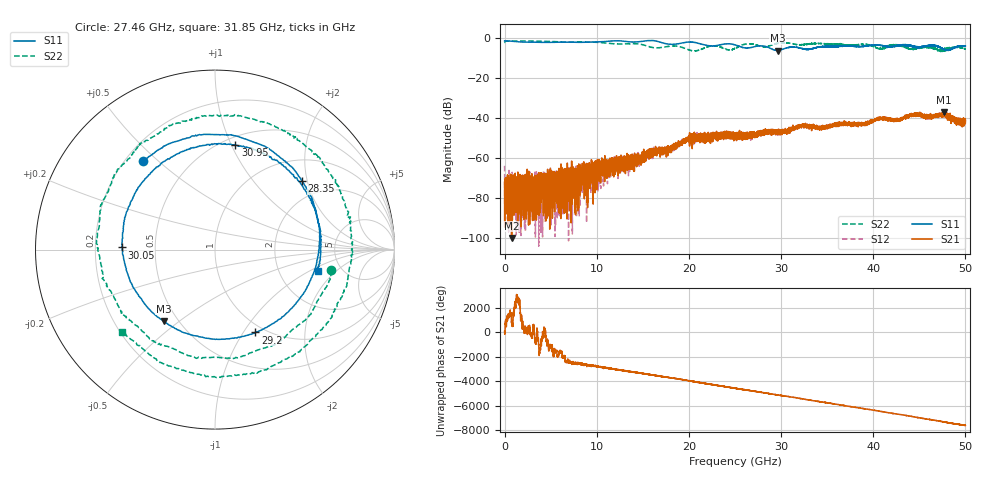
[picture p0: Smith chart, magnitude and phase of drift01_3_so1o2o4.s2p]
!Created with skrf (http://scikit-rf.org).
# Hz S RI R 50.0
!freq ReS11 ImS11 ReS21 ImS21 ReS12 ImS12 ReS22 ImS22
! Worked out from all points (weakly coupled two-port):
!   10001 points, 300 kHz to 50 GHz, reference 50 ohm
!   highest |S21| = -36.92 dB at 47.65 GHz (marker M1); lowest = -100.2 dB at 760.3 MHz (marker M2)
!   lowest |S11| = -6.2 dB at 29.63 GHz (marker M3), VSWR 2.92, Z = 21 - j22 ohm
!   |S11| at or under -10 dB: nowhere
!   |S22| runs from -6.7 to -1.4 dB; largest |S21 - S12| = 0.0039
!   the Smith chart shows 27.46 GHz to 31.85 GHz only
!   S11 on the Smith chart (normalised r, x): 27.46 GHz: 0.27, +0.45; 28.35 GHz: 1.51, +1.86; 29.2 GHz: 0.90, -1.13; 30.05 GHz: 0.32, +0.01; 30.95 GHz: 0.58, +1.04; 31.85 GHz: 3.35, -1.19
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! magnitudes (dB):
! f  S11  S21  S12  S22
! 300 kHz  -1.3  -72.2  -64.0  -2.1
! 255.3 MHz  -1.4  -79.3  -74.5  -1.4
! 760.3 MHz  -1.5  -100.2  -74.9  -1.5
! 3.21 GHz  -2.0  -71.7  -72.8  -1.4
! 5.295 GHz  -2.0  -82.4  -77.0  -1.7
! 8.335 GHz  -2.0  -73.8  -67.5  -1.8
! 16.67 GHz  -1.7  -57.7  -56.1  -4.8
! 18.62 GHz  -2.9  -54.1  -53.9  -3.9
! 20.49 GHz  -2.0  -48.2  -48.3  -6.3
! 22.59 GHz  -3.9  -51.4  -49.1  -3.8
! 25 GHz  -3.3  -47.8  -49.2  -5.2
! 27.46 GHz  -3.9  -49.4  -47.5  -3.6
! 28.35 GHz  -4.2  -47.3  -46.7  -4.3
! 29.2 GHz  -5.8  -47.3  -47.0  -3.1
! 29.63 GHz  -6.2  -46.3  -46.4  -2.5
! 30.05 GHz  -5.7  -46.3  -46.4  -2.3
! 30.95 GHz  -4.5  -45.4  -45.6  -2.5
! 31.85 GHz  -4.7  -45.1  -43.9  -3.2
! 33.34 GHz  -5.2  -44.3  -44.8  -2.6
! 41.67 GHz  -4.3  -40.6  -40.4  -4.4
! 47.65 GHz  -5.6  -36.9  -38.2  -6.4
! 50 GHz  -3.9  -41.1  -40.7  -5.4
